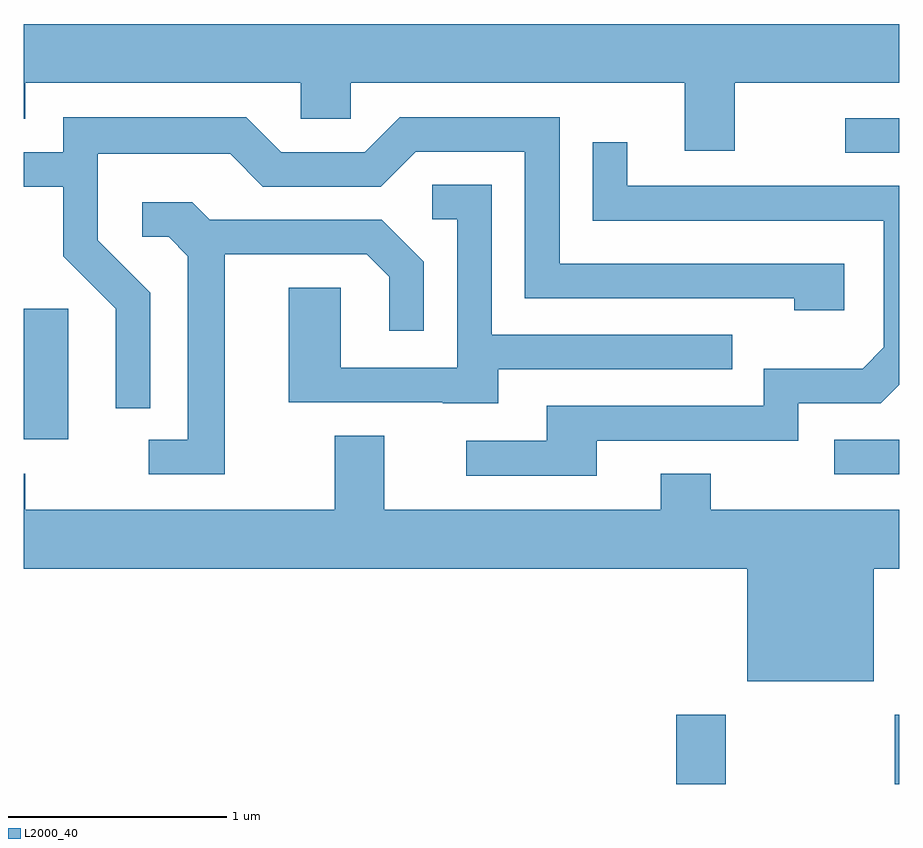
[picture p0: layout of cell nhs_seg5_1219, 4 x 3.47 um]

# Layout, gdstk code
import gdstk
lib = gdstk.Library(unit=1e-6, precision=1e-09)
def R(c, l, rs):  # rectangles x0, y0, x1, y1
    for r in rs: c.add(gdstk.rectangle(r[:2], r[2:], *l))
def P(c, l, *ps):  # polygons
    for p in ps: c.add(gdstk.Polygon(p, *l))
L2000_40 = (2000, 40)

nhs_seg5_1219 = lib.new_cell('nhs_seg5_1219')
R(nhs_seg5_1219, L2000_40, [(224.591,1418.072,224.819,1418.389), (225.591,1418.072,225.611,1418.389), (225.313,1419.486,225.611,1419.644), (221.611,1419.646,221.814,1420.244), (225.363,1420.956,225.611,1421.114)])
P(nhs_seg5_1219, L2000_40, [(224.859,1421.276),(225.611,1421.276),(225.611,1421.544),(221.611,1421.544),(221.611,1421.111),(221.619,1421.111),(221.619,1421.276),(222.876,1421.276),(222.876,1421.111),(223.104,1421.111),(223.104,1421.276),(224.631,1421.276),(224.631,1420.966),(224.859,1420.966)],
  [(222.189,1420.317),(221.949,1420.557),(221.949,1420.951),(222.554,1420.951),(222.704,1420.801),(223.242,1420.801),(223.402,1420.961),(223.901,1420.961),(223.901,1420.291),(225.131,1420.291),(225.131,1420.236),(225.359,1420.236),(225.359,1420.449),(224.059,1420.449),(224.059,1421.119),(223.329,1421.119),(223.169,1420.959),(222.787,1420.959),(222.627,1421.119),(221.791,1421.119),(221.791,1420.959),(221.611,1420.959),(221.611,1420.801),(221.791,1420.801),(221.791,1420.484),(222.031,1420.244),(222.031,1419.788),(222.189,1419.788)],
  [(224.229,1419.641),(225.149,1419.641),(225.149,1419.811),(225.527,1419.811),(225.611,1419.895),(225.611,1420.804),(224.369,1420.804),(224.369,1421.003),(224.211,1421.003),(224.211,1420.646),(225.541,1420.646),(225.541,1420.067),(225.444,1419.969),(224.991,1419.969),(224.991,1419.799),(224.001,1419.799),(224.001,1419.639),(223.633,1419.639),(223.633,1419.481),(224.229,1419.481)],
  [(223.779,1419.966),(224.848,1419.966),(224.848,1420.124),(223.749,1420.124),(223.749,1420.809),(223.478,1420.809),(223.478,1420.651),(223.591,1420.651),(223.591,1419.974),(223.059,1419.974),(223.059,1420.339),(222.821,1420.339),(222.821,1419.816),(223.525,1419.816),(223.525,1419.811),(223.779,1419.811)],
  [(222.529,1420.491),(223.179,1420.491),(223.281,1420.389),(223.281,1420.143),(223.439,1420.143),(223.439,1420.457),(223.247,1420.649),(222.462,1420.649),(222.382,1420.729),(222.153,1420.729),(222.153,1420.571),(222.274,1420.571),(222.361,1420.484),(222.361,1419.644),(222.183,1419.644),(222.183,1419.486),(222.529,1419.486)],
  [(225.494,1419.056),(225.611,1419.056),(225.611,1419.324),(224.749,1419.324),(224.749,1419.489),(224.521,1419.489),(224.521,1419.324),(223.259,1419.324),(223.259,1419.664),(223.031,1419.664),(223.031,1419.324),(221.619,1419.324),(221.619,1419.489),(221.611,1419.489),(221.611,1419.056),(224.916,1419.056),(224.916,1418.541),(225.494,1418.541)])

lib.write_gds('nhs_seg5_1219.gds')
